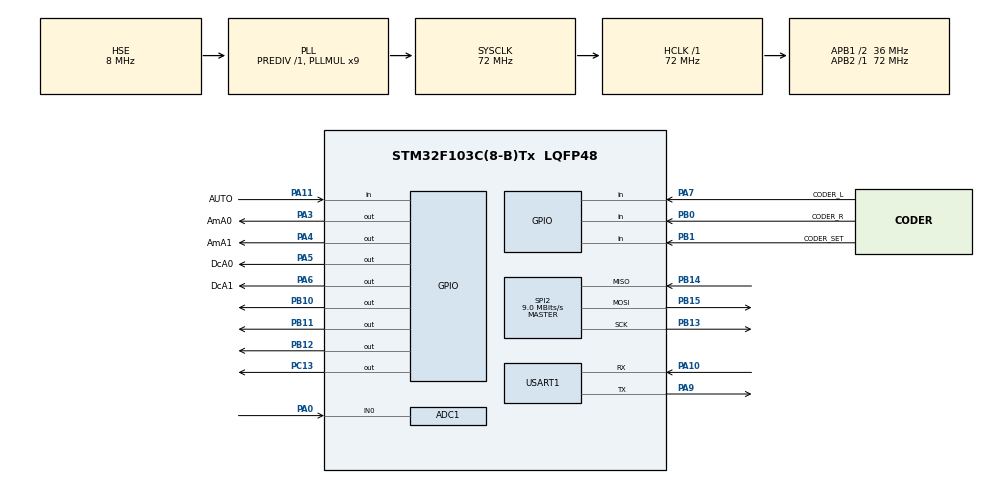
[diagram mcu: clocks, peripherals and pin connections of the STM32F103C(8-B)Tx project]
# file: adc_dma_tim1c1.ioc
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ADC1.Channel-0\#ChannelRegularConversion=ADC_CHANNEL_0
ADC1.ExternalTrigConv=ADC_EXTERNALTRIGCONV_T1_CC1
ADC1.NbrOfConversion=1
ADC1.NbrOfConversionFlag=1
ADC1.Rank-0\#ChannelRegularConversion=1
ADC1.SamplingTime-0\#ChannelRegularConversion=ADC_SAMPLETIME_1CYCLE_5
ADC1.master=1
Dma.ADC1.0.Direction=DMA_PERIPH_TO_MEMORY
Dma.ADC1.0.Instance=DMA1_Channel1
Dma.ADC1.0.MemDataAlignment=DMA_MDATAALIGN_HALFWORD
Dma.ADC1.0.MemInc=DMA_MINC_ENABLE
Dma.ADC1.0.Mode=DMA_CIRCULAR
Dma.ADC1.0.PeriphDataAlignment=DMA_PDATAALIGN_HALFWORD
Dma.ADC1.0.PeriphInc=DMA_PINC_DISABLE
Dma.ADC1.0.Priority=DMA_PRIORITY_LOW
Dma.Request0=ADC1
Mcu.Family=STM32F1
Mcu.Name=STM32F103C(8-B)Tx
Mcu.Package=LQFP48
NVIC.DMA1_Channel1_IRQn=true\:0\:0\:false\:false\:true\:false\:true\:true
NVIC.PriorityGroup=NVIC_PRIORITYGROUP_4
PA0-WKUP.Signal=ADCx_IN0
PA10.Mode=Asynchronous
PA10.Signal=USART1_RX
PA11.GPIO_Label=AUTO
PA11.Signal=GPIO_Input
PA13.Mode=Serial_Wire
PA13.Signal=SYS_JTMS-SWDIO
PA14.Mode=Serial_Wire
PA14.Signal=SYS_JTCK-SWCLK
PA3.GPIO_Label=AmA0
PA3.Signal=GPIO_Output
PA4.GPIO_Label=AmA1
PA4.Signal=GPIO_Output
PA5.GPIO_Label=DcA0
PA5.Signal=GPIO_Output
PA6.GPIO_Label=DcA1
PA6.Signal=GPIO_Output
PA7.GPIO_Label=CODER_L
PA7.Signal=GPIO_Input
PA9.Mode=Asynchronous
PA9.Signal=USART1_TX
PB0.GPIO_Label=CODER_R
PB0.Signal=GPIO_Input
PB1.GPIO_Label=CODER_SET
PB1.Signal=GPIO_Input
PB10.Signal=GPIO_Output
PB11.Signal=GPIO_Output
PB12.Signal=GPIO_Output
PB13.Mode=Full_Duplex_Master
PB13.Signal=SPI2_SCK
PB14.Mode=Full_Duplex_Master
PB14.Signal=SPI2_MISO
PB15.Mode=Full_Duplex_Master
PB15.Signal=SPI2_MOSI
PC13-TAMPER-RTC.Signal=GPIO_Output
PC14-OSC32_IN.Mode=LSE-External-Oscillator
PC14-OSC32_IN.Signal=RCC_OSC32_IN
PC15-OSC32_OUT.Mode=LSE-External-Oscillator
PC15-OSC32_OUT.Signal=RCC_OSC32_OUT
PD0-OSC_IN.Mode=HSE-External-Oscillator
PD0-OSC_IN.Signal=RCC_OSC_IN
PD1-OSC_OUT.Mode=HSE-External-Oscillator
PD1-OSC_OUT.Signal=RCC_OSC_OUT
ProjectManager.HeapSize=0x200
ProjectManager.StackSize=0x400
ProjectManager.TargetToolchain=MDK-ARM V5.32
RCC.ADCPresc=RCC_ADCPCLK2_DIV6
RCC.AHBFreq_Value=72000000
RCC.APB1CLKDivider=RCC_HCLK_DIV2
RCC.APB1Freq_Value=36000000
RCC.APB1TimFreq_Value=72000000
RCC.APB2Freq_Value=72000000
RCC.APB2TimFreq_Value=72000000
RCC.HCLKFreq_Value=72000000
RCC.PLLMUL=RCC_PLL_MUL9
RCC.PLLSourceVirtual=RCC_PLLSOURCE_HSE
RCC.SYSCLKFreq_VALUE=72000000
RCC.SYSCLKSource=RCC_SYSCLKSOURCE_PLLCLK
RCC.USBFreq_Value=72000000
SH.ADCx_IN0.0=ADC1_IN0,IN0
SPI2.BaudRatePrescaler=SPI_BAUDRATEPRESCALER_4
SPI2.CalculateBaudRate=9.0 MBits/s
SPI2.Direction=SPI_DIRECTION_2LINES
SPI2.Mode=SPI_MODE_MASTER
SPI2.VirtualType=VM_MASTER
TIM1.Channel-PWM\ Generation1\ No\ Output=TIM_CHANNEL_1
TIM1.Period=100
TIM1.Prescaler=72
TIM1.Pulse-PWM\ Generation1\ No\ Output=50
TIM1.TIM_MasterOutputTrigger=TIM_TRGO_OC1REF
TIM1.TIM_MasterSlaveMode=TIM_MASTERSLAVEMODE_ENABLE
USART1.VirtualMode=VM_ASYNC
VP_TIM1_VS_ClockSourceINT.Mode=Internal
VP_TIM1_VS_no_output1.Mode=PWM Generation1 No Output
board=custom

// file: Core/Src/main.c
/* USER CODE BEGIN Header */
/**
  ******************************************************************************
  * @file           : main.c
  * @brief          : Main program body
  ******************************************************************************
  * @attention
  *
  * Copyright (c) 2023 STMicroelectronics.
  * All rights reserved.
  *
  * This software is licensed under terms that can be found in the LICENSE file
  * in the root directory of this software component.
  * If no LICENSE file comes with this software, it is provided AS-IS.
  *
  ******************************************************************************
  */
/* USER CODE END Header */
#include "main.h"
#include "adc.h"
#include "dma.h"
#include "spi.h"
#include "tim.h"
#include "usart.h"
#include "gpio.h"

/* USER CODE BEGIN PV */
uint16_t adc_buffer[FILTER_NUM] ={0};
uint16_t adc_calc_res = 0;

//state         0 0 0 0 0 0 0 0
	//					 低三位为量程状态
uint8_t state_manual = 0x00;
//state         0 0 0 0 0 0 0 0
	//			最高位为模式切换		 低三位为量程状态
extern TIM_HandleTypeDef htim1;
/* USER CODE END PV */

void SystemClock_Config(void);

int main(void)
{

  /* MCU Configuration--------------------------------------------------------*/

  /* Reset of all peripherals, Initializes the Flash interface and the Systick. */
  HAL_Init();

  /* Configure the system clock */
  SystemClock_Config();

  /* USER CODE BEGIN SysInit */
	HAL_Delay(100);
  /* USER CODE END SysInit */

  /* Initialize all configured peripherals */
  MX_GPIO_Init();
  MX_DMA_Init();
  MX_ADC1_Init();
  MX_TIM1_Init();
  MX_USART1_UART_Init();
  MX_SPI2_Init();
  /* USER CODE BEGIN 2 */
 HAL_ADC_Start_DMA(&hadc1,(uint32_t *)&adc_buffer,FILTER_NUM);
 HAL_TIM_PWM_Start(&htim1, TIM_CHANNEL_1);
 Lcd_Init();
	LCD_LED_SET;//通过IO控制背光
	LCD_RST_SET;
	Lcd_Clear(WHITE);
  /* USER CODE END 2 */

  /* Infinite loop */
  /* USER CODE BEGIN WHILE */
  while (1)
  {

	  Hardware_Init.Sys_running(&state_manual);

    /* USER CODE END WHILE */

  }
}

void SystemClock_Config(void)
{
  RCC_OscInitTypeDef RCC_OscInitStruct = {0};
  RCC_ClkInitTypeDef RCC_ClkInitStruct = {0};
  RCC_PeriphCLKInitTypeDef PeriphClkInit = {0};

  /** Initializes the RCC Oscillators according to the specified parameters
  * in the RCC_OscInitTypeDef structure.
  */
  RCC_OscInitStruct.OscillatorType = RCC_OSCILLATORTYPE_HSE;
  RCC_OscInitStruct.HSEState = RCC_HSE_ON;
  RCC_OscInitStruct.HSEPredivValue = RCC_HSE_PREDIV_DIV1;
  RCC_OscInitStruct.HSIState = RCC_HSI_ON;
  RCC_OscInitStruct.PLL.PLLState = RCC_PLL_ON;
  RCC_OscInitStruct.PLL.PLLSource = RCC_PLLSOURCE_HSE;
  RCC_OscInitStruct.PLL.PLLMUL = RCC_PLL_MUL9;
  if (HAL_RCC_OscConfig(&RCC_OscInitStruct) != HAL_OK)
  {
    Error_Handler();
  }

  /** Initializes the CPU, AHB and APB buses clocks
  */
  RCC_ClkInitStruct.ClockType = RCC_CLOCKTYPE_HCLK|RCC_CLOCKTYPE_SYSCLK
                              |RCC_CLOCKTYPE_PCLK1|RCC_CLOCKTYPE_PCLK2;
  RCC_ClkInitStruct.SYSCLKSource = RCC_SYSCLKSOURCE_PLLCLK;
  RCC_ClkInitStruct.AHBCLKDivider = RCC_SYSCLK_DIV1;
  RCC_ClkInitStruct.APB1CLKDivider = RCC_HCLK_DIV2;
  RCC_ClkInitStruct.APB2CLKDivider = RCC_HCLK_DIV1;

  if (HAL_RCC_ClockConfig(&RCC_ClkInitStruct, FLASH_LATENCY_2) != HAL_OK)
  {
    Error_Handler();
  }
  PeriphClkInit.PeriphClockSelection = RCC_PERIPHCLK_ADC;
  PeriphClkInit.AdcClockSelection = RCC_ADCPCLK2_DIV6;
  if (HAL_RCCEx_PeriphCLKConfig(&PeriphClkInit) != HAL_OK)
  {
    Error_Handler();
  }
}

/* USER CODE BEGIN 4 */
void HAL_ADC_ConvCpltCallback(ADC_HandleTypeDef* hadc)
{
	if(hadc == &hadc1){
	adc_calc_res = Calc.voltage_calc(Filter.Mid_filter(adc_buffer),state_manual);
	}

}

/* USER CODE END 4 */

void Error_Handler(void)
{
  __disable_irq();
  while (1)
  {
  }
}
